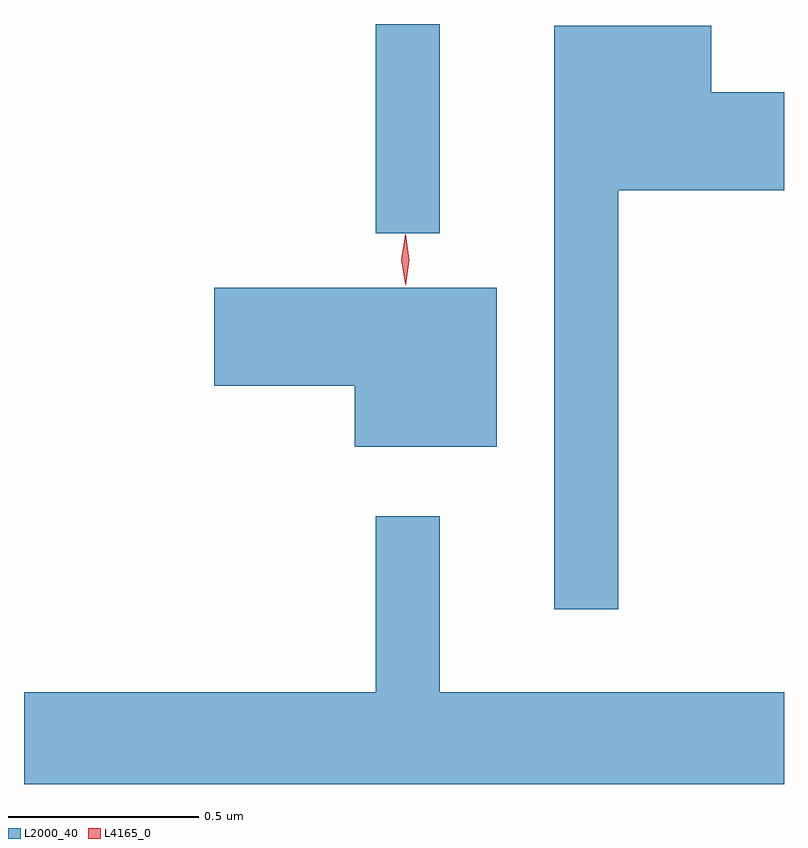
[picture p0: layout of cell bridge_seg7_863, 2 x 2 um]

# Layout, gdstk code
import gdstk
lib = gdstk.Library(unit=1e-6, precision=1e-09)
def R(c, l, rs):  # rectangles x0, y0, x1, y1
    for r in rs: c.add(gdstk.rectangle(r[:2], r[2:], *l))
def P(c, l, *ps):  # polygons
    for p in ps: c.add(gdstk.Polygon(p, *l))
L2000_40 = (2000, 40)
L4165_0 = (4165, 0)

bridge_seg7_863 = lib.new_cell('bridge_seg7_863')
R(bridge_seg7_863, L2000_40, [(283.431,1775.733,283.599,1776.283)])
P(bridge_seg7_863, L2000_40, [(284.069,1775.846),(284.505,1775.846),(284.505,1776.104),(284.314,1776.104),(284.314,1776.279),(283.901,1776.279),(283.901,1774.743),(284.069,1774.743)],
  [(283.749,1775.589),(283.006,1775.589),(283.006,1775.331),(283.376,1775.331),(283.376,1775.171),(283.749,1775.171)],
  [(284.505,1774.524),(283.599,1774.524),(283.599,1774.988),(283.431,1774.988),(283.431,1774.524),(282.505,1774.524),(282.505,1774.283),(284.505,1774.283)])
P(bridge_seg7_863, L4165_0, [(283.508,1775.6),(283.508,1775.6),(283.498,1775.664),(283.508,1775.726),(283.508,1775.727),(283.509,1775.726),(283.518,1775.664),(283.509,1775.6)],
  [(283.509,1775.594),(283.499,1775.662),(283.508,1775.73),(283.508,1775.73),(283.509,1775.73),(283.519,1775.662),(283.51,1775.594),(283.51,1775.594)])

lib.write_gds('bridge_seg7_863.gds')
